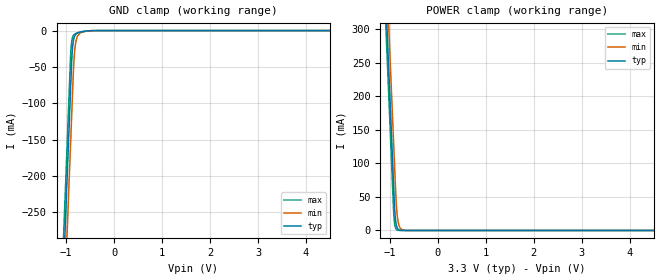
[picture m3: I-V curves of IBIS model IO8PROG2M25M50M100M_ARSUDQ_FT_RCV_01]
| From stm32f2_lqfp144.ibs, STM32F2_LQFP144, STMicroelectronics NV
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| *** New cell (Generated with 5.14beta1 (Sep 20 2010 13:23:23))
[Model]   IO8PROG2M25M50M100M_ARSUDQ_FT_RCV_01
Model_type Input
Polarity   Non-Inverting
Enable   Active-Low
| CAP_THRESHOLD on pad IOV33 is "CMOS" :
| Rising=10.0% of vddio   Falling=90.0% of vddio
| C_comp min and max val. don't necessarily correlate with the min and max pvt
| but are the smallest and greatest pad capacitance found.
| var   typ   min   max
C_comp   2.13995pF  2.04095pF  2.25995pF
Vinl = 810.0mV | Dummy value overriden by next lines
Vinh = 2.52V | Dummy value overriden by next lines
[Model Spec]
| TIME_THRESHOLD on pin ZIV33 is "CORE" :
| Rising=40.0% of vddio   Falling=60.0% of vddio
Vinl 1.25450V 1.03850V 1.36250V
Vinh 1.66150V 1.36950V 1.82450V
| variable   typ   min   max
[Temperature Range] 25.0 125.0 -40.0
| variable   typ   min   max
[Voltage Range] 3.3V 2.7V 3.6V
| variable   typ   min   max
[POWER Clamp Reference] 3.3V 2.7V 3.6V
| variable   typ   min   max
[GND Clamp Reference] 0V 0V 0V
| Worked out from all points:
|   GND clamp passes 1 mA (typ) near -0.62 V on its own axis
|   POWER clamp passes 1 mA (typ) near -0.81 V on its own axis
[POWER Clamp]
-3.3V     4.11A      4.173A     4.072A
-1.09V    352.5mA    415.9mA    314.5mA
-1.05V    284.5mA    347.9mA    246.5mA
-1.01V    216.5mA    279.9mA    178.5mA
-920mV    63.51mA    126.9mA    25.85mA
-900mV    31.51mA    92.9mA     9.552mA
-890mV    21.35mA    75.9mA     5.807mA
-870mV    9.804mA    44.01mA    2.146mA
-840mV    3.05mA     18.36mA    482.1uA
-780mV    295.2uA    3.194mA    24.34uA
-660mV    2.764uA    96.54uA    62.42nA
6.6V      0A         0A         0A
[GND Clamp]
-3.3V     -4.149A    -4.223A    -4.103A
-1.06V    -340.6mA   -415.4mA   -294.5mA
-940mV    -136.6mA   -211.4mA   -90.54mA
-900mV    -68.55mA   -143.4mA   -26.55mA
-880mV    -36.73mA   -109.4mA   -13.46mA
-870mV    -26.56mA   -92.4mA    -10.28mA
-840mV    -11.29mA   -44.89mA   -5.954mA
-820mV    -7.224mA   -26.98mA   -4.795mA
-790mV    -4.452mA   -13.31mA   -3.784mA
-700mV    -1.958mA   -2.906mA   -1.882mA
-350mV    -6.427uA   -36.29uA   -1.194uA
6.6V      9.456nA    1.185uA    63.86pA
